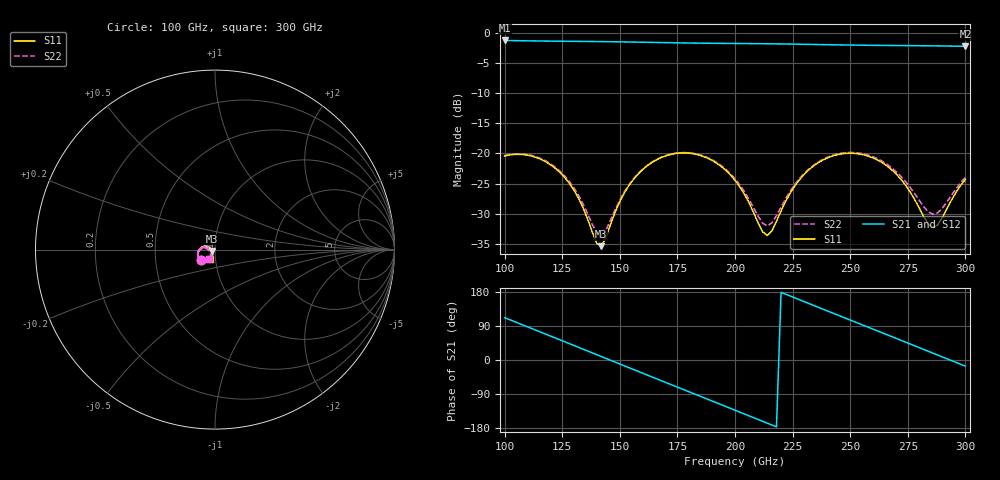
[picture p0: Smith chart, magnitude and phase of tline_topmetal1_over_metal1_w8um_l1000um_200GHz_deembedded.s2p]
! Created with skrf 2.2.0 (http://scikit-rf.org).
# GHz S DB R 50.0
! Port[1] = P1
! Port[2] = P2
!freq dBS11 angS11 dBS21 angS21 dBS12 angS12 dBS22 angS22
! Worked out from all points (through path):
!   101 points, 100 GHz to 300 GHz, reference 50 ohm
!   highest |S21| = -1.24 dB at 100 GHz (marker M1); lowest = -2.2 dB at 300 GHz (marker M2)
!   group delay of S21, straight-line fit = 6.78 ps
!   lowest |S11| = -35.4 dB at 142 GHz (marker M3), VSWR 1.03, Z = 48.5 - j0.803 ohm
!   |S11| at or under -10 dB: start of sweep to end of sweep
!   |S22| runs from -33.6 to -19.8 dB; largest |S21 - S12| = 9.4e-14
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100  -20.42 -144.5  -1.24 111.8  -1.24 111.8  -20.36 -144.0
108  -20.19 -161.9  -1.29 92.3  -1.29 92.3  -20.11 -160.7
116  -21.02 -178.7  -1.33 72.8  -1.33 72.8  -20.90 -176.8
126  -23.96 163.1  -1.37 48.4  -1.37 48.4  -23.72 166.2
134  -28.98 157.5  -1.40 28.8  -1.40 28.8  -28.35 162.5
140  -34.95 -174.6  -1.42 14.1  -1.42 14.1  -33.20 -172.5
142  -35.41 -150.8  -1.43 9.2  -1.43 9.2  -33.64 -153.9
154  -25.31 -114.4  -1.49 -20.3  -1.49 -20.3  -25.19 -117.4
168  -20.68 -137.8  -1.58 -54.6  -1.58 -54.6  -20.64 -138.3
176  -19.94 -153.8  -1.64 -74.1  -1.64 -74.1  -19.89 -153.5
184  -20.23 -169.7  -1.68 -93.5  -1.68 -93.5  -20.15 -168.6
200  -24.46 163.9  -1.74 -132.5  -1.74 -132.5  -24.20 167.1
214  -33.64 -155.9  -1.79 -166.7  -1.79 -166.7  -32.05 -156.5
224  -26.57 -115.7  -1.84 168.8  -1.84 168.8  -26.24 -119.3
234  -22.11 -126.3  -1.90 144.4  -1.90 144.4  -21.98 -127.7
244  -20.25 -144.0  -1.97 120.0  -1.97 120.0  -20.14 -144.0
252  -20.00 -159.0  -2.01 100.6  -2.01 100.6  -19.87 -158.1
260  -20.76 -173.6  -2.05 81.2  -2.05 81.2  -20.57 -171.6
268  -22.72 173.9  -2.08 61.8  -2.08 61.8  -22.39 177.2
278  -27.67 169.1  -2.11 37.5  -2.11 37.5  -26.71 174.8
286  -32.36 -154.2  -2.14 17.9  -2.14 17.9  -30.11 -156.0
300  -24.30 -116.7  -2.21 -16.3  -2.21 -16.3  -23.97 -122.8
